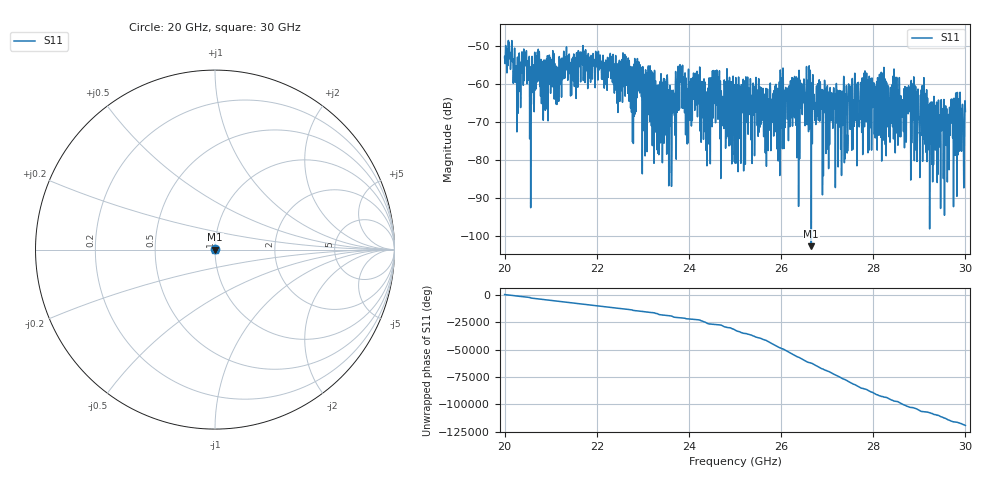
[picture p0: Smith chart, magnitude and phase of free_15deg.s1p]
#  HZ  S  RI  R  50.00
! Rohde & Schwarz ZVA40 4Ports - Version 3.90 - 1145.1110k42 SN: 100403
! Date: 2023-10-03 12:17:26
! Measurement: S12
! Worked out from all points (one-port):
!   5001 points, 20 GHz to 30 GHz, reference 50 ohm
!   lowest |S11| = -102.7 dB at 26.66 GHz (marker M1), VSWR 1.00, Z = 50 - j0.000228 ohm
!   |S11| at or under -10 dB: start of sweep to end of sweep
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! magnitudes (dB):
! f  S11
! 20 GHz  -53.1
! 20.12 GHz  -53.6
! 20.3 GHz  -57.0
! 20.43 GHz  -59.1
! 20.59 GHz  -53.0
! 20.7 GHz  -59.5
! 20.87 GHz  -53.7
! 21.25 GHz  -54.2
! 22.5 GHz  -64.6
! 22.93 GHz  -58.6
! 23.06 GHz  -56.8
! 23.15 GHz  -62.0
! 23.6 GHz  -62.4
! 23.75 GHz  -60.9
! 23.97 GHz  -61.2
! 24.19 GHz  -65.6
! 24.38 GHz  -62.1
! 24.56 GHz  -64.2
! 24.72 GHz  -65.7
! 25 GHz  -73.4
! 25.71 GHz  -61.3
! 26.25 GHz  -67.5
! 26.66 GHz  -102.7
! 27.28 GHz  -62.6
! 27.5 GHz  -67.9
! 28.75 GHz  -62.4
! 29.26 GHz  -64.7
! 30 GHz  -67.2
